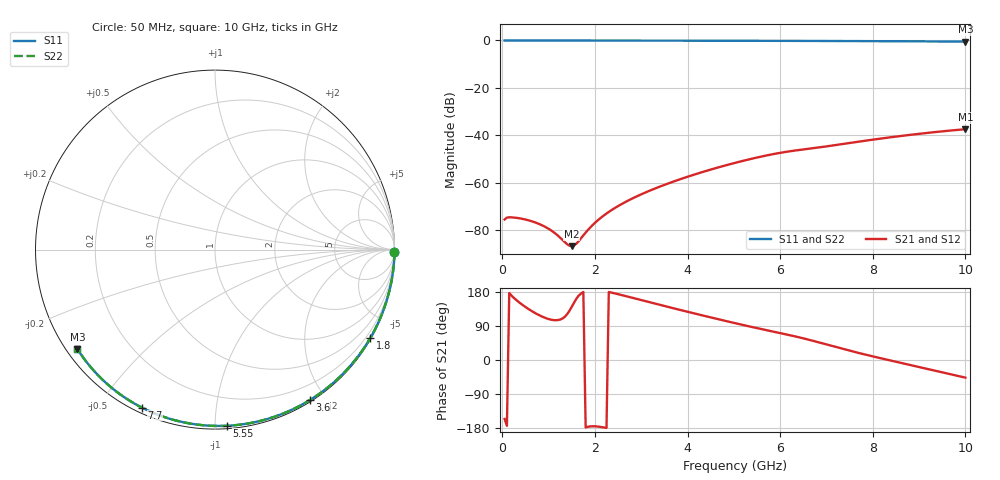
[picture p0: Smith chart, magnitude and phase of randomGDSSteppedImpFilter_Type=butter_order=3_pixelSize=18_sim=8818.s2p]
! freq	dB(S11)	phase(S11)	dB(S12)	phase(S12)
!  dB(S21)	phase(S21)	dB(S22)	phase(S22)
!S-par simulation data
#  GHz  S  DB  R 50
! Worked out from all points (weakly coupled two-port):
!   200 points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, 50 MHz to 10 GHz, reference 50 ohm
!   highest |S21| = -37.41 dB at 10 GHz (marker M1); lowest = -86.7 dB at 1.5 GHz (marker M2)
!   lowest |S11| = -0.5 dB at 10 GHz (marker M3), VSWR 35.81, Z = 1.54 - j16.2 ohm
!   |S11| at or under -10 dB: nowhere
!   |S22| runs from -0.5 to 0.0 dB; largest |S21 - S12| = 0
!   S11 on the Smith chart (normalised r, x): 50 MHz: open; 1.8 GHz: 0.03, -3.78; 3.6 GHz: 0.02, -1.81; 5.55 GHz: 0.02, -1.07; 7.7 GHz: 0.02, -0.64; 10 GHz: 0.03, -0.32
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0.05  -0.00 -0.8  -75.47 -155.6  -75.47 -155.6  -0.00 -0.8
0.1  -0.00 -1.7  -74.67 -173.6  -74.67 -173.6  -0.00 -1.7
0.15  -0.00 -2.5  -74.55 176.9  -74.55 176.9  -0.00 -2.5
0.35  -0.00 -5.9  -74.89 153.5  -74.89 153.5  -0.00 -5.9
0.75  -0.01 -12.5  -76.99 121.1  -76.99 121.1  -0.01 -12.5
1.05  -0.02 -17.4  -80.01 106.5  -80.01 106.5  -0.02 -17.4
1.5  -0.03 -24.8  -86.71 140.7  -86.71 140.7  -0.03 -24.8
1.75  -0.04 -28.8  -82.16 179.5  -82.16 179.5  -0.04 -28.8
1.8  -0.04 -29.6  -80.98 -177.8  -80.98 -177.8  -0.04 -29.6
1.85  -0.04 -30.4  -79.86 -176.1  -79.86 -176.1  -0.04 -30.5
2.15  -0.05 -35.3  -74.41 -177.1  -74.41 -177.1  -0.05 -35.3
2.5  -0.05 -40.8  -69.81 173.7  -69.81 173.7  -0.05 -40.8
2.9  -0.06 -47.1  -65.75 161.3  -65.75 161.3  -0.06 -47.1
3.4  -0.07 -54.8  -61.61 145.6  -61.61 145.6  -0.07 -54.8
3.6  -0.08 -57.8  -60.15 139.4  -60.15 139.4  -0.08 -57.8
4.3  -0.10 -68.3  -55.60 118.3  -55.60 118.3  -0.10 -68.3
5.05  -0.12 -79.1  -51.47 96.5  -51.47 96.5  -0.12 -79.1
5.55  -0.14 -86.1  -49.12 82.8  -49.12 82.8  -0.14 -86.1
6.7  -0.20 -101.8  -45.44 50.9  -45.44 50.9  -0.20 -101.8
7.7  -0.27 -114.9  -42.65 18.4  -42.65 18.4  -0.27 -114.9
8.35  -0.32 -123.2  -40.90 -0.4  -40.90 -0.4  -0.32 -123.2
10  -0.49 -144.1  -37.41 -46.6  -37.41 -46.6  -0.49 -144.1
